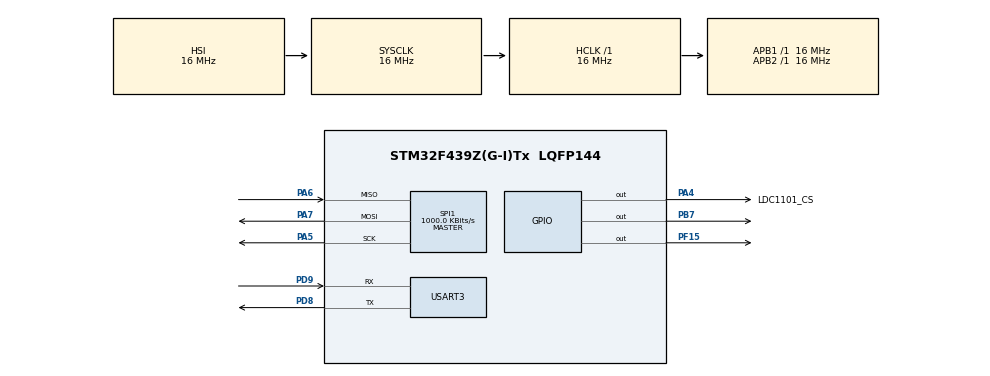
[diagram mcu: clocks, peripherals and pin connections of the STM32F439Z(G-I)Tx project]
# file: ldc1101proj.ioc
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Mcu.Family=STM32F4
Mcu.Name=STM32F439Z(G-I)Tx
Mcu.Package=LQFP144
NVIC.PriorityGroup=NVIC_PRIORITYGROUP_4
PA4.GPIO_Label=LDC1101_CS
PA4.GPIO_ModeDefaultOutputPP=GPIO_MODE_OUTPUT_PP
PA4.GPIO_Speed=GPIO_SPEED_FREQ_LOW
PA4.Signal=GPIO_Output
PA5.GPIO_Speed=GPIO_SPEED_FREQ_LOW
PA5.Mode=Full_Duplex_Master
PA5.Signal=SPI1_SCK
PA6.GPIO_Speed=GPIO_SPEED_FREQ_LOW
PA6.Mode=Full_Duplex_Master
PA6.Signal=SPI1_MISO
PA7.GPIO_Speed=GPIO_SPEED_FREQ_LOW
PA7.Mode=Full_Duplex_Master
PA7.Signal=SPI1_MOSI
PB7.Signal=GPIO_Output
PD8.Mode=Asynchronous
PD8.Signal=USART3_TX
PD9.Mode=Asynchronous
PD9.Signal=USART3_RX
PF15.PinState=GPIO_PIN_SET
PF15.Signal=GPIO_Output
ProjectManager.HeapSize=0x200
ProjectManager.StackSize=0x400
ProjectManager.TargetToolchain=STM32CubeIDE
RCC.AHBFreq_Value=16000000
RCC.APB1Freq_Value=16000000
RCC.APB2Freq_Value=16000000
RCC.CortexFreq_Value=16000000
RCC.HSE_VALUE=25000000
RCC.HSI_VALUE=16000000
RCC.LSE_VALUE=32768
RCC.SYSCLKFreq_VALUE=16000000
RCC.VCOOutputFreq_Value=192000000
SPI1.BaudRatePrescaler=SPI_BAUDRATEPRESCALER_16
SPI1.CLKPhase=SPI_PHASE_1EDGE
SPI1.CLKPolarity=SPI_POLARITY_LOW
SPI1.CalculateBaudRate=1000.0 KBits/s
SPI1.Direction=SPI_DIRECTION_2LINES
SPI1.Mode=SPI_MODE_MASTER
SPI1.VirtualType=VM_MASTER
USART3.VirtualMode=VM_ASYNC
board=custom

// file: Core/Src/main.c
/* USER CODE BEGIN Header */
/**
  ******************************************************************************
  * @file           : main.c
  * @brief          : Main program body
  ******************************************************************************
  * @attention
  *
  * Copyright (c) 2025 STMicroelectronics.
  * All rights reserved.
  *
  * This software is licensed under terms that can be found in the LICENSE file
  * in the root directory of this software component.
  * If no LICENSE file comes with this software, it is provided AS-IS.
  *
  ******************************************************************************
  */
/* USER CODE END Header */
#include "main.h"
#include "spi.h"
#include "usart.h"
#include "gpio.h"

/* USER CODE BEGIN Includes */
#include "__ldc1101_driver.h"
#include <stdio.h>
#include <string.h>
/* USER CODE END Includes */

void SystemClock_Config(void);

/* USER CODE BEGIN 0 */
uint8_t LHRstatus;
uint8_t statusbyte;

/* USER CODE END 0 */

int main(void)
{

  /* MCU Configuration--------------------------------------------------------*/

  /* Reset of all peripherals, Initializes the Flash interface and the Systick. */
  HAL_Init();

  /* Configure the system clock */
  SystemClock_Config();

  /* Initialize all configured peripherals */
  MX_GPIO_Init();
  MX_SPI1_Init();
  MX_USART3_UART_Init();
  /* USER CODE BEGIN 2 */
  HAL_GPIO_WritePin(GPIOB, GPIO_PIN_7, GPIO_PIN_RESET);
  ldc1101_init();

  printf("\r\n=== LDC1101 + STM32F439ZI (USART3) ===\r\n"); // Small banner to know UART works
  uint8_t id = ldc1101_readByte(0x3F); // CHIP_ID register. It should return 0xD4
  printf("CHIP_ID=0x%02X\r\n", id);
  printf("\r\n");

  // Go to active mode and choose RP mode
  ldc1101_writeByte(_LDC1101_REG_CFG_RP_MEASUREMENT_DYNAMIC_RANGE,_LDC1101_RP_SET_RP_MAX_24KOhm | _LDC1101_RP_SET_RP_MIN_1_5KOhm);
  ldc1101_writeByte(_LDC1101_REG_CFG_INTERNAL_TIME_CONSTANT_1,_LDC1101_TC1_C1_0_75pF | _LDC1101_TC1_R1_21_1kOhm);
  ldc1101_writeByte(_LDC1101_REG_CFG_INTERNAL_TIME_CONSTANT_2,_LDC1101_TC2_C2_3pF | _LDC1101_TC2_R2_30_5kOhm);
  ldc1101_writeByte(_LDC1101_REG_CFG_RP_L_CONVERSION_INTERVAL, 0xD0 | _LDC1101_DIG_CFG_RESP_TIME_768s);
  ldc1101_setPowerMode(_LDC1101_FUNC_MODE_ACTIVE_CONVERSION_MODE);

  ldc1101_goTo_Lmode();

  HAL_Delay(5);

  printf("Measuring RP... (printing every 200ms)\r\n");
  /* USER CODE END 2 */

  /* Infinite loop */
  /* USER CODE BEGIN WHILE */
  while (1)
  {

	 // Read RP (16-bit)
	 //uint16_t RP = ldc1101_getRPData();
	 uint16_t L = ldc1101_getLData();
	 uint8_t while_id = ldc1101_readByte(0x3F);
	 printf("CHIP_ID = 0x%02X\r\n",while_id);
	 printf("\r\n");
	 // Print reading
	 //printf("RP reading: %u\r\n",RP);
	 printf("L reading: %u\r\n",L);
	 statusbyte = ldc1101_readByte(0x20); // Read Status Bytes
	 printf("Status_Byte = 0x%02X\r\n",statusbyte);
	 LHRstatus = ldc1101_readByte(0x3B);
	 printf("LHRStatus = 0x%02X\r\n",LHRstatus);
	 HAL_Delay(100);
    /* USER CODE END WHILE */

  }
}

void SystemClock_Config(void)
{
  RCC_OscInitTypeDef RCC_OscInitStruct = {0};
  RCC_ClkInitTypeDef RCC_ClkInitStruct = {0};

  /** Configure the main internal regulator output voltage
  */
  __HAL_RCC_PWR_CLK_ENABLE();
  __HAL_PWR_VOLTAGESCALING_CONFIG(PWR_REGULATOR_VOLTAGE_SCALE3);

  /** Initializes the RCC Oscillators according to the specified parameters
  * in the RCC_OscInitTypeDef structure.
  */
  RCC_OscInitStruct.OscillatorType = RCC_OSCILLATORTYPE_HSI;
  RCC_OscInitStruct.HSIState = RCC_HSI_ON;
  RCC_OscInitStruct.HSICalibrationValue = RCC_HSICALIBRATION_DEFAULT;
  RCC_OscInitStruct.PLL.PLLState = RCC_PLL_NONE;
  if (HAL_RCC_OscConfig(&RCC_OscInitStruct) != HAL_OK)
  {
    Error_Handler();
  }

  /** Initializes the CPU, AHB and APB buses clocks
  */
  RCC_ClkInitStruct.ClockType = RCC_CLOCKTYPE_HCLK|RCC_CLOCKTYPE_SYSCLK
                              |RCC_CLOCKTYPE_PCLK1|RCC_CLOCKTYPE_PCLK2;
  RCC_ClkInitStruct.SYSCLKSource = RCC_SYSCLKSOURCE_HSI;
  RCC_ClkInitStruct.AHBCLKDivider = RCC_SYSCLK_DIV1;
  RCC_ClkInitStruct.APB1CLKDivider = RCC_HCLK_DIV1;
  RCC_ClkInitStruct.APB2CLKDivider = RCC_HCLK_DIV1;

  if (HAL_RCC_ClockConfig(&RCC_ClkInitStruct, FLASH_LATENCY_0) != HAL_OK)
  {
    Error_Handler();
  }
}

void Error_Handler(void)
{
  __disable_irq();
  while (1)
  {
  }
}
